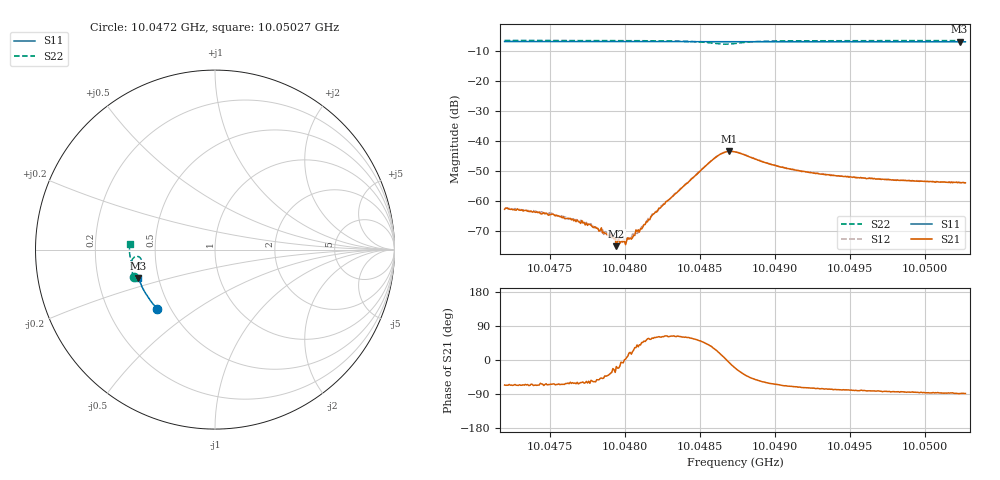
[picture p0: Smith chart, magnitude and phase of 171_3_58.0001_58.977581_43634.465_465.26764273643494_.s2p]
#  HZ  S  RI  R  50.00
! Rohde & Schwarz Vector Network Analyzer
! Rohde-Schwarz,ZNB20-2Port,1311601062101988,3.16
! Created: UTC 3/21/2024, 12:57:56 AM
! freq[Hz]  re:S11  im:S11  re:S21  im:S21  re:S12  im:S12  re:S22  im:S22
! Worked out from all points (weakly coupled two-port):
!   401 points, 10.0472 GHz to 10.05027 GHz, reference 50 ohm
!   highest |S21| = -43.47 dB at 10.0487 GHz (marker M1); lowest = -75.2 dB at 10.04794 GHz (marker M2)
!   lowest |S11| = -6.8 dB at 10.05023 GHz (marker M3), VSWR 2.67, Z = 19.3 - j7.7 ohm
!   |S11| at or under -10 dB: nowhere
!   |S22| runs from -7.6 to -6.4 dB; largest |S21 - S12| = 0.00048
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1.0047199e10  -0.3227 -0.3283  0.000292 -0.000658  0.000317 -0.000668  -0.4539 -0.1535
1.0047499e10  -0.3361 -0.3136  0.000248 -0.000527  0.000304 -0.000553  -0.4596 -0.133
1.0047714e10  -0.3454 -0.3026  0.000237 -0.000401  0.000265 -0.000369  -0.4628 -0.1176
1.0047829e10  -0.3502 -0.2967  0.00019 -0.000243  0.000232 -0.000229  -0.4645 -0.1091
1.0047921e10  -0.3539 -0.292  0.000224 -9.31e-05  0.000229 -0.000132  -0.4655 -0.102
1.0047929e10  -0.3543 -0.2915  0.000207 -9.87e-05  0.000234 -0.000109  -0.4656 -0.1012
1.0047944e10  -0.3548 -0.2907  0.000166 -5.18e-05  0.000208 -7.97e-05  -0.4657 -0.1001
1.004799e10  -0.3567 -0.2882  0.000204 -2.62e-05  0.000223 -3.21e-06  -0.4662 -0.0965
1.0048021e10  -0.3579 -0.2867  0.000237 4.33e-05  0.000224 3.87e-05  -0.4664 -0.0939
1.0048052e10  -0.3592 -0.285  0.000224 8.91e-05  0.000239 0.00014  -0.4665 -0.0914
1.004809e10  -0.3607 -0.283  0.000269 0.000187  0.000212 0.000205  -0.4667 -0.088
1.0048113e10  -0.3617 -0.2819  0.000234 0.000243  0.000234 0.000283  -0.4668 -0.086
1.0048229e10  -0.366 -0.2756  0.000358 0.000663  0.000306 0.000664  -0.4664 -0.0749
1.0048597e10  -0.3792 -0.2552  0.00442 0.00252  0.00432 0.00279  -0.4271 -0.0387
1.0048651e10  -0.3811 -0.2521  0.00612 0.00123  0.00606 0.00161  -0.413 -0.0507
1.0048697e10  -0.3824 -0.2498  0.00666 -0.000811  0.00671 -0.000424  -0.4112 -0.068
1.0048736e10  -0.3838 -0.2478  0.00614 -0.00235  0.00632 -0.00196  -0.4186 -0.0796
1.004902e10  -0.3935 -0.2318  0.00161 -0.00343  0.0018 -0.00333  -0.4657 -0.065
1.004925e10  -0.4009 -0.2184  0.000793 -0.00281  0.000975 -0.0028  -0.4732 -0.0427
1.0049765e10  -0.4152 -0.1876  0.000282 -0.00223  0.000398 -0.00223  -0.4767 -0.0026
1.0050234e10  -0.4263 -0.1586  5.13e-05 -0.002  0.000189 -0.00202  -0.4758 0.0303
1.0050272e10  -0.4272 -0.1563  5.54e-05 -0.00199  0.000137 -0.002  -0.4756 0.0329
